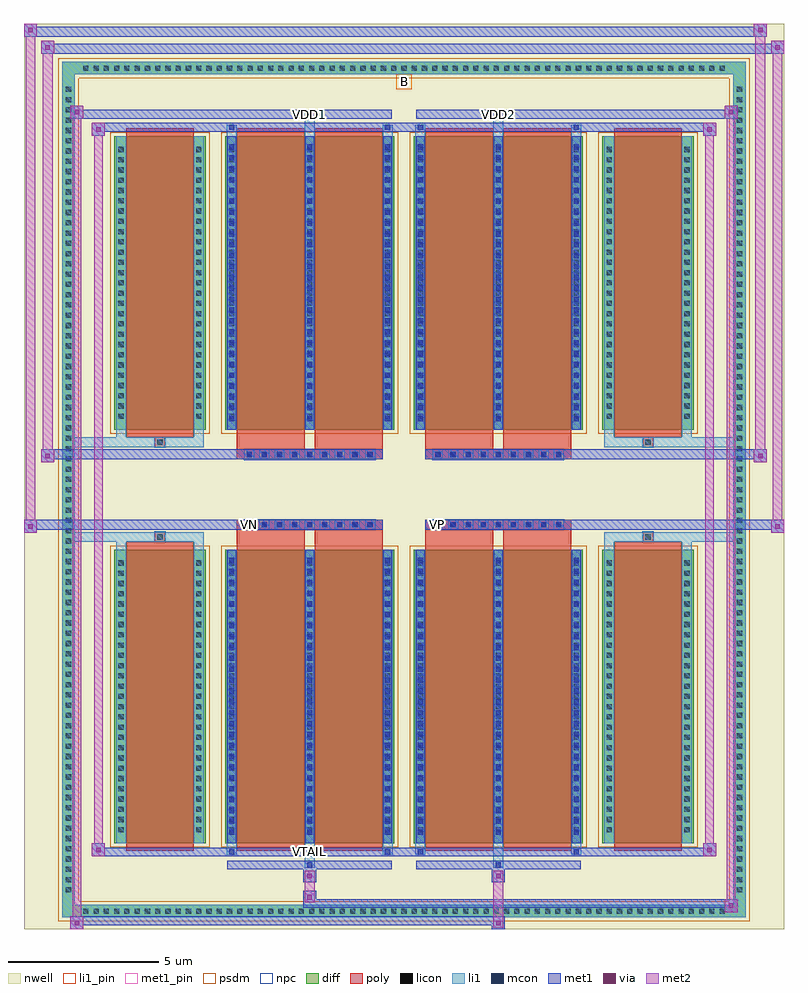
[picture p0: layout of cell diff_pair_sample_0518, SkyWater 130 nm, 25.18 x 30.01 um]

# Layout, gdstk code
import gdstk
lib = gdstk.Library(unit=1e-6, precision=5e-09)
def R(c, l, rs):  # rectangles x0, y0, x1, y1
    for r in rs: c.add(gdstk.rectangle(r[:2], r[2:], *l))
def A(c, l, x, y, w, h, nx, ny, dx, dy):  # array of equal rectangles
    R(c, l, [(x+i*dx, y+j*dy, x+i*dx+w, y+j*dy+h) for i in range(nx) for j in range(ny)])
def P(c, l, *ps):  # polygons
    for p in ps: c.add(gdstk.Polygon(p, *l))
nwell = (64, 20)
diff = (65, 20)
poly = (66, 20)
licon = (66, 44)
li1_pin = (67, 16)
li1 = (67, 20)
mcon = (67, 44)
met1_pin = (68, 16)
met1 = (68, 20)
via = (68, 44)
met2 = (69, 20)
psdm = (94, 20)
npc = (95, 20)

diff_pair_sample_0518 = lib.new_cell('diff_pair_sample_0518')
R(diff_pair_sample_0518, nwell, [(-12.59,-14.57,12.59,15.44), (-9.91,-12.76,-0.01,-0.8), (0.01,-12.76,9.91,-0.8), (-9.91,0.8,-0.01,12.76), (0.01,0.8,9.91,12.76)])
A(diff_pair_sample_0518, diff, -10.745, -14.17, 0.41, 0.41, 63, 2, 0.34, 27.93)
A(diff_pair_sample_0518, diff, -11.32, -13.465, 0.41, 0.41, 1, 79, 0, 0.34)
A(diff_pair_sample_0518, diff, 10.91, -13.465, 0.41, 0.41, 1, 79, 0, 0.34)
R(diff_pair_sample_0518, diff, [(-10.745,-14.17,10.745,-13.76), (-11.32,-13.465,-10.91,13.465), (10.91,-13.465,11.32,13.465), (-9.6,-11.715,-6.57,-1.985), (-5.93,-11.715,-0.32,-1.985), (0.32,-11.715,5.93,-1.985), (6.57,-11.715,9.6,-1.985), (-9.6,1.985,-6.57,11.715), (-5.93,1.985,-0.32,11.715), (0.32,1.985,5.93,11.715), (6.57,1.985,9.6,11.715), (-10.745,13.76,10.745,14.17)])
P(diff_pair_sample_0518, diff, [(11.32,14.17),(-11.32,14.17),(-11.32,-13.76),(-10.91,-13.76),(-10.91,13.76),(10.91,13.76),(10.91,-13.76),(-10.91,-13.76),(-11.32,-13.76),(-11.32,-14.17),(11.32,-14.17)])
A(diff_pair_sample_0518, poly, -5.29, -1.33, 0.33, 0.33, 9, 2, 0.5, 2.33)
A(diff_pair_sample_0518, poly, 0.96, -1.33, 0.33, 0.33, 9, 2, 0.5, 2.33)
R(diff_pair_sample_0518, poly, [(-9.21,-11.965,-6.96,-1.735), (-5.54,-11.965,-3.29,-1.735), (-2.96,-11.965,-0.71,-1.735), (0.71,-11.965,2.96,-1.735), (3.29,-11.965,5.54,-1.735), (6.96,-11.965,9.21,-1.735), (-8.25,-1.735,-7.92,-1.405), (-8.25,-1.735,-7.92,-1.405), (-5.54,-1.735,-3.29,-1.33), (-2.96,-1.735,-0.71,-1.33), (0.71,-1.735,2.96,-1.33), (3.29,-1.735,5.54,-1.33), (7.92,-1.735,8.25,-1.405), (7.92,-1.735,8.25,-1.405), (-5.54,-1.33,-0.71,-1), (0.71,-1.33,5.54,-1), (-5.54,1,-0.71,1.33), (0.71,1,5.54,1.33), (-5.54,1.33,-3.29,1.735), (-2.96,1.33,-0.71,1.735), (0.71,1.33,2.96,1.735), (3.29,1.33,5.54,1.735), (-8.25,1.405,-7.92,1.735), (-8.25,1.405,-7.92,1.735), (7.92,1.405,8.25,1.735), (7.92,1.405,8.25,1.735), (-9.21,1.735,-6.96,11.965), (-5.54,1.735,-3.29,11.965), (-2.96,1.735,-0.71,11.965), (0.71,1.735,2.96,11.965), (3.29,1.735,5.54,11.965), (6.96,1.735,9.21,11.965)])
A(diff_pair_sample_0518, licon, -10.625, -14.05, 0.17, 0.17, 63, 2, 0.34, 27.93)
A(diff_pair_sample_0518, licon, -11.2, -13.345, 0.17, 0.17, 1, 79, 0, 0.34)
A(diff_pair_sample_0518, licon, 11.03, -13.345, 0.17, 0.17, 1, 79, 0, 0.34)
A(diff_pair_sample_0518, licon, -9.46, -11.355, 0.17, 0.17, 1, 27, 0, 0.34)
A(diff_pair_sample_0518, licon, -6.88, -11.355, 0.17, 0.17, 1, 27, 0, 0.34)
A(diff_pair_sample_0518, licon, -5.79, -11.355, 0.17, 0.17, 3, 27, 2.58, 0.34)
A(diff_pair_sample_0518, licon, 0.46, -11.355, 0.17, 0.17, 3, 27, 2.58, 0.34)
A(diff_pair_sample_0518, licon, 6.71, -11.355, 0.17, 0.17, 1, 27, 0, 0.34)
A(diff_pair_sample_0518, licon, 9.29, -11.355, 0.17, 0.17, 1, 27, 0, 0.34)
A(diff_pair_sample_0518, licon, -5.21, -1.25, 0.17, 0.17, 9, 2, 0.5, 2.33)
A(diff_pair_sample_0518, licon, 1.04, -1.25, 0.17, 0.17, 9, 2, 0.5, 2.33)
A(diff_pair_sample_0518, licon, -9.46, 2.345, 0.17, 0.17, 1, 27, 0, 0.34)
A(diff_pair_sample_0518, licon, -6.88, 2.345, 0.17, 0.17, 1, 27, 0, 0.34)
A(diff_pair_sample_0518, licon, -5.79, 2.345, 0.17, 0.17, 3, 27, 2.58, 0.34)
A(diff_pair_sample_0518, licon, 0.46, 2.345, 0.17, 0.17, 3, 27, 2.58, 0.34)
A(diff_pair_sample_0518, licon, 6.71, 2.345, 0.17, 0.17, 1, 27, 0, 0.34)
A(diff_pair_sample_0518, licon, 9.29, 2.345, 0.17, 0.17, 1, 27, 0, 0.34)
R(diff_pair_sample_0518, licon, [(-8.17,-1.655,-8,-1.485), (8,-1.655,8.17,-1.485), (-8.17,1.485,-8,1.655), (8,1.485,8.17,1.655)])
R(diff_pair_sample_0518, li1_pin, [(-0.25,13.26,0.25,13.76)])
A(diff_pair_sample_0518, li1, -10.705, -14.13, 0.33, 0.33, 63, 2, 0.34, 27.93)
A(diff_pair_sample_0518, li1, -11.28, -13.425, 0.33, 0.33, 1, 79, 0, 0.34)
A(diff_pair_sample_0518, li1, 10.95, -13.425, 0.33, 0.33, 1, 79, 0, 0.34)
A(diff_pair_sample_0518, li1, -5.87, -11.715, 0.33, 9.73, 3, 2, 2.58, 13.7)
A(diff_pair_sample_0518, li1, 0.38, -11.715, 0.33, 9.73, 3, 2, 2.58, 13.7)
A(diff_pair_sample_0518, li1, -9.54, -11.435, 0.33, 0.33, 1, 27, 0, 0.34)
A(diff_pair_sample_0518, li1, -6.96, -11.435, 0.33, 0.33, 1, 27, 0, 0.34)
A(diff_pair_sample_0518, li1, -5.87, -11.435, 0.33, 0.33, 3, 27, 2.58, 0.34)
A(diff_pair_sample_0518, li1, -5.79, -11.435, 0.17, 0.17, 3, 26, 2.58, 0.36)
A(diff_pair_sample_0518, li1, -5.79, -11.435, 0.17, 9.17, 3, 2, 2.58, 13.7)
A(diff_pair_sample_0518, li1, 0.38, -11.435, 0.33, 0.33, 3, 27, 2.58, 0.34)
A(diff_pair_sample_0518, li1, 0.46, -11.435, 0.17, 0.17, 3, 26, 2.58, 0.36)
A(diff_pair_sample_0518, li1, 0.46, -11.435, 0.17, 9.17, 3, 2, 2.58, 13.7)
A(diff_pair_sample_0518, li1, 6.63, -11.435, 0.33, 0.33, 1, 27, 0, 0.34)
A(diff_pair_sample_0518, li1, 9.21, -11.435, 0.33, 0.33, 1, 27, 0, 0.34)
A(diff_pair_sample_0518, li1, -5.29, -1.33, 0.33, 0.33, 9, 2, 0.5, 2.33)
A(diff_pair_sample_0518, li1, 0.96, -1.33, 0.33, 0.33, 9, 2, 0.5, 2.33)
A(diff_pair_sample_0518, li1, -9.54, 2.265, 0.33, 0.33, 1, 27, 0, 0.34)
A(diff_pair_sample_0518, li1, -6.96, 2.265, 0.33, 0.33, 1, 27, 0, 0.34)
A(diff_pair_sample_0518, li1, -5.87, 2.265, 0.33, 0.33, 3, 27, 2.58, 0.34)
A(diff_pair_sample_0518, li1, -5.79, 2.265, 0.17, 0.17, 3, 26, 2.58, 0.36)
A(diff_pair_sample_0518, li1, 0.38, 2.265, 0.33, 0.33, 3, 27, 2.58, 0.34)
A(diff_pair_sample_0518, li1, 0.46, 2.265, 0.17, 0.17, 3, 26, 2.58, 0.36)
A(diff_pair_sample_0518, li1, 6.63, 2.265, 0.33, 0.33, 1, 27, 0, 0.34)
A(diff_pair_sample_0518, li1, 9.21, 2.265, 0.33, 0.33, 1, 27, 0, 0.34)
R(diff_pair_sample_0518, li1, [(-11.32,-14.17,-10.91,-13.76), (-11.32,-14.17,-10.91,-13.76), (-10.91,-14.17,10.91,-13.76), (10.91,-14.17,11.32,-13.76), (10.91,-14.17,11.32,-13.76), (-11.32,-13.76,-10.91,13.76), (10.91,-13.76,11.32,13.76), (-3.29,-12.52,-2.96,-11.715), (-3.21,-12.52,-3.04,-12.35), (2.96,-12.52,3.29,-11.715), (3.04,-12.52,3.21,-12.35), (-5.87,-12.09,-5.54,-11.715), (-5.79,-12.09,-5.62,-11.92), (-0.71,-12.09,-0.38,-11.715), (-0.63,-12.09,-0.46,-11.92), (0.38,-12.09,0.71,-11.715), (0.46,-12.09,0.63,-11.92), (5.54,-12.09,5.87,-11.715), (5.62,-12.09,5.79,-11.92), (-9.54,-11.715,-9.21,-1.985), (-6.96,-11.715,-6.63,-1.985), (6.63,-11.715,6.96,-1.985), (9.21,-11.715,9.54,-1.985), (-9.54,-1.985,-9.21,-1.405), (-6.96,-1.985,-6.63,-1.405), (6.63,-1.985,6.96,-1.405), (9.21,-1.985,9.54,-1.405), (-11.32,-1.735,-8.25,-1.405), (-9.54,-1.735,-8.25,-1.405), (-8.25,-1.735,-7.92,-1.405), (-7.92,-1.735,-6.63,-1.405), (6.63,-1.735,7.92,-1.405), (7.92,-1.735,8.25,-1.405), (7.92,-1.735,11.32,-1.405), (8.25,-1.735,9.54,-1.405), (-11.32,1.405,-8.25,1.735), (-9.54,1.405,-8.25,1.735), (-9.54,1.405,-9.21,1.985), (-8.25,1.405,-7.92,1.735), (-7.92,1.405,-6.63,1.735), (-6.96,1.405,-6.63,1.985), (6.63,1.405,7.92,1.735), (6.63,1.405,6.96,1.985), (7.92,1.405,8.25,1.735), (7.92,1.405,11.32,1.735), (8.25,1.405,9.54,1.735), (9.21,1.405,9.54,1.985), (-9.54,1.985,-9.21,11.715), (-6.96,1.985,-6.63,11.715), (6.63,1.985,6.96,11.715), (9.21,1.985,9.54,11.715), (-5.87,11.715,-5.54,12.09), (-3.29,11.715,-2.96,12.52), (-0.71,11.715,-0.38,12.09), (0.38,11.715,0.71,12.09), (2.96,11.715,3.29,12.52), (5.54,11.715,5.87,12.09), (-5.79,11.92,-5.62,12.09), (-0.63,11.92,-0.46,12.09), (0.46,11.92,0.63,12.09), (5.62,11.92,5.79,12.09), (-3.21,12.35,-3.04,12.52), (3.04,12.35,3.21,12.52), (-11.32,13.76,-10.91,14.17), (-11.32,13.76,-10.91,14.17), (-10.91,13.76,10.91,14.17), (10.91,13.76,11.32,14.17), (10.91,13.76,11.32,14.17)])
A(diff_pair_sample_0518, mcon, -5.79, -11.435, 0.17, 0.17, 3, 26, 2.58, 0.36)
A(diff_pair_sample_0518, mcon, 0.46, -11.435, 0.17, 0.17, 3, 26, 2.58, 0.36)
A(diff_pair_sample_0518, mcon, -5.21, -1.25, 0.17, 0.17, 9, 2, 0.5, 2.33)
A(diff_pair_sample_0518, mcon, 1.04, -1.25, 0.17, 0.17, 9, 2, 0.5, 2.33)
A(diff_pair_sample_0518, mcon, -5.79, 2.265, 0.17, 0.17, 3, 26, 2.58, 0.36)
A(diff_pair_sample_0518, mcon, 0.46, 2.265, 0.17, 0.17, 3, 26, 2.58, 0.36)
R(diff_pair_sample_0518, mcon, [(-3.21,-12.52,-3.04,-12.35), (3.04,-12.52,3.21,-12.35), (-5.79,-12.09,-5.62,-11.92), (-0.63,-12.09,-0.46,-11.92), (0.46,-12.09,0.63,-11.92), (5.62,-12.09,5.79,-11.92), (-5.79,11.92,-5.62,12.09), (-0.63,11.92,-0.46,12.09), (0.46,11.92,0.63,12.09), (5.62,11.92,5.79,12.09), (-3.21,12.35,-3.04,12.52), (3.04,12.35,3.21,12.52)])
R(diff_pair_sample_0518, met1_pin, [(-3.26,-12.13,-2.99,-11.86), (-5.26,-1.29,-4.99,-1.02), (0.99,-1.29,1.26,-1.02), (-3.26,12.31,-2.99,12.58), (2.99,12.31,3.26,12.58)])
A(diff_pair_sample_0518, met1, -5.85, -11.715, 0.29, 9.73, 3, 2, 2.58, 13.7)
A(diff_pair_sample_0518, met1, 0.4, -11.715, 0.29, 9.73, 3, 2, 2.58, 13.7)
A(diff_pair_sample_0518, met1, -5.85, -11.495, 0.29, 0.29, 3, 26, 2.58, 0.36)
A(diff_pair_sample_0518, met1, 0.4, -11.495, 0.29, 0.29, 3, 26, 2.58, 0.36)
A(diff_pair_sample_0518, met1, -5.27, -1.31, 0.29, 0.29, 9, 2, 0.5, 2.33)
A(diff_pair_sample_0518, met1, 0.98, -1.31, 0.29, 0.29, 9, 2, 0.5, 2.33)
A(diff_pair_sample_0518, met1, -5.85, 2.205, 0.29, 0.29, 3, 26, 2.58, 0.36)
A(diff_pair_sample_0518, met1, 0.4, 2.205, 0.29, 0.29, 3, 26, 2.58, 0.36)
R(diff_pair_sample_0518, met1, [(-11.05,-14.57,-10.62,-14.14), (2.91,-14.57,3.34,-14.14), (-11.05,-14.43,3.34,-14.14), (10.62,-14,11.05,-13.57), (-3.34,-13.86,11.05,-13.57), (-3.34,-13.72,-2.91,-13.29), (-3.34,-13.01,-2.91,-12.58), (2.91,-13.01,3.34,-12.58), (-5.85,-12.58,-0.4,-12.29), (-3.27,-12.58,-2.98,-12.29), (0.4,-12.58,5.85,-12.29), (2.98,-12.58,3.27,-12.29), (-10.34,-12.15,-9.91,-11.72), (-10.34,-12.15,-5.85,-11.86), (-5.85,-12.15,-5.56,-11.86), (-5.85,-12.15,-0.4,-11.86), (-0.69,-12.15,-0.4,-11.86), (-0.4,-12.15,0.4,-11.86), (0.4,-12.15,0.69,-11.86), (0.4,-12.15,5.85,-11.86), (5.56,-12.15,5.85,-11.86), (5.85,-12.15,10.34,-11.86), (9.91,-12.15,10.34,-11.72), (-12.59,-1.43,-12.16,-1), (12.16,-1.43,12.59,-1), (-12.59,-1.33,-0.71,-1), (-5.54,-1.33,-0.71,-1), (0.71,-1.33,5.54,-1), (0.71,-1.33,12.59,-1), (-12.02,0.9,-11.59,1.33), (11.59,0.9,12.02,1.33), (-12.02,1,-5.54,1.33), (-5.54,1,-0.71,1.33), (0.71,1,5.54,1.33), (5.54,1,12.02,1.33), (-10.34,11.72,-9.91,12.15), (9.91,11.72,10.34,12.15), (-10.34,11.86,-5.85,12.15), (-5.85,11.86,-5.56,12.15), (-5.85,11.86,-0.4,12.15), (-0.69,11.86,-0.4,12.15), (-0.4,11.86,0.4,12.15), (0.4,11.86,0.69,12.15), (0.4,11.86,5.85,12.15), (5.56,11.86,5.85,12.15), (5.85,11.86,10.34,12.15), (-11.05,12.29,-10.62,12.72), (-11.05,12.29,-5.85,12.58), (-5.85,12.29,-0.4,12.58), (-3.27,12.29,-2.98,12.58), (0.4,12.29,5.85,12.58), (2.98,12.29,3.27,12.58), (5.85,12.29,11.05,12.58), (10.62,12.29,11.05,12.72), (-12.02,14.44,-11.59,14.87), (-12.02,14.44,-9.91,14.77), (-9.91,14.44,9.91,14.77), (9.91,14.44,12.59,14.77), (12.16,14.44,12.59,14.87), (-12.59,15.01,-12.16,15.44), (-12.59,15.01,-9.91,15.34), (-9.91,15.01,9.91,15.34), (9.91,15.01,12.02,15.34), (11.59,15.01,12.02,15.44)])
R(diff_pair_sample_0518, via, [(-10.91,-14.43,-10.76,-14.28), (3.05,-14.43,3.2,-14.28), (10.76,-13.86,10.91,-13.71), (-3.2,-13.58,-3.05,-13.43), (-3.2,-12.87,-3.05,-12.72), (3.05,-12.87,3.2,-12.72), (-10.2,-12.01,-10.05,-11.86), (10.05,-12.01,10.2,-11.86), (-12.45,-1.29,-12.3,-1.14), (12.3,-1.29,12.45,-1.14), (-11.88,1.04,-11.73,1.19), (11.73,1.04,11.88,1.19), (-10.2,11.86,-10.05,12.01), (10.05,11.86,10.2,12.01), (-10.91,12.43,-10.76,12.58), (10.76,12.43,10.91,12.58), (-11.88,14.58,-11.73,14.73), (12.3,14.58,12.45,14.73), (-12.45,15.15,-12.3,15.3), (11.73,15.15,11.88,15.3)])
R(diff_pair_sample_0518, met2, [(-11.05,-14.57,-10.62,-14.14), (-10.98,-14.57,-10.69,12.72), (-10.69,-14.57,-10.62,-14.14), (-11,-14.52,-10.67,-14.19), (2.96,-14.52,3.29,-14.19), (2.96,-14.19,3.29,-12.96), (10.62,-14,11.05,-13.57), (10.69,-14,10.98,12.72), (10.98,-14,11.05,-13.57), (10.67,-13.95,11,-13.62), (-3.29,-13.67,-2.96,-13.34), (-3.29,-13.34,-2.96,-12.96), (-3.29,-12.96,-2.96,-12.63), (2.96,-12.96,3.29,-12.63), (-10.34,-12.15,-9.91,-11.72), (-10.27,-12.15,-9.98,12.15), (-9.98,-12.15,-9.91,-11.72), (9.91,-12.15,10.34,-11.72), (9.98,-12.15,10.27,12.15), (10.27,-12.15,10.34,-11.72), (-10.29,-12.1,-9.96,-11.77), (9.96,-12.1,10.29,-11.77), (-12.59,-1.43,-12.16,-1), (-12.54,-1.43,-12.21,15.44), (-12.21,-1.43,-12.16,-1), (12.16,-1.43,12.59,-1), (12.21,-1.43,12.54,14.87), (12.54,-1.43,12.59,-1), (-12.54,-1.38,-12.21,-1.05), (12.21,-1.38,12.54,-1.05), (-12.02,0.9,-11.59,1.33), (-11.97,0.9,-11.64,14.87), (-11.64,0.9,-11.59,1.33), (11.59,0.9,12.02,1.33), (11.64,0.9,11.97,15.44), (11.97,0.9,12.02,1.33), (-11.97,0.95,-11.64,1.28), (11.64,0.95,11.97,1.28), (-10.34,11.72,-9.91,12.15), (-9.98,11.72,-9.91,12.15), (9.91,11.72,10.34,12.15), (10.27,11.72,10.34,12.15), (-10.29,11.77,-9.96,12.1), (9.96,11.77,10.29,12.1), (-11.05,12.29,-10.62,12.72), (-10.69,12.29,-10.62,12.72), (10.62,12.29,11.05,12.72), (10.98,12.29,11.05,12.72), (-11,12.34,-10.67,12.67), (10.67,12.34,11,12.67), (-12.02,14.44,-11.59,14.87), (-11.64,14.44,-11.59,14.87), (12.16,14.44,12.59,14.87), (12.54,14.44,12.59,14.87), (-11.97,14.49,-11.64,14.82), (12.21,14.49,12.54,14.82), (-12.59,15.01,-12.16,15.44), (-12.21,15.01,-12.16,15.44), (11.59,15.01,12.02,15.44), (11.97,15.01,12.02,15.44), (-12.54,15.06,-12.21,15.39), (11.64,15.06,11.97,15.39)])
R(diff_pair_sample_0518, psdm, [(-9.73,-11.845,-6.44,-1.855), (-6.06,-11.845,-0.19,-1.855), (0.19,-11.845,6.06,-1.855), (6.44,-11.845,9.73,-1.855), (-9.73,1.855,-6.44,11.845), (-6.06,1.855,-0.19,11.845), (0.19,1.855,6.06,11.845), (6.44,1.855,9.73,11.845)])
P(diff_pair_sample_0518, psdm, [(11.45,14.3),(-11.45,14.3),(-11.45,-13.63),(-10.78,-13.63),(-10.78,13.63),(10.78,13.63),(10.78,-13.63),(-10.78,-13.63),(-11.45,-13.63),(-11.45,-14.3),(11.45,-14.3)])
A(diff_pair_sample_0518, npc, -5.31, -1.35, 0.37, 0.37, 9, 2, 0.5, 2.33)
A(diff_pair_sample_0518, npc, 0.94, -1.35, 0.37, 0.37, 9, 2, 0.5, 2.33)
R(diff_pair_sample_0518, npc, [(-8.27,-1.755,-7.9,-1.385), (7.9,-1.755,8.27,-1.385), (-5.31,-1.35,-4.44,-0.98), (-5.31,-1.35,-4.44,-0.98), (-4.81,-1.35,-3.94,-0.98), (-4.81,-1.35,-3.94,-0.98), (-4.31,-1.35,-3.44,-0.98), (-4.31,-1.35,-3.44,-0.98), (-3.81,-1.35,-2.94,-0.98), (-3.81,-1.35,-2.94,-0.98), (-3.31,-1.35,-2.44,-0.98), (-3.31,-1.35,-2.44,-0.98), (-2.81,-1.35,-1.94,-0.98), (-2.81,-1.35,-1.94,-0.98), (-2.31,-1.35,-1.44,-0.98), (-2.31,-1.35,-1.44,-0.98), (-1.81,-1.35,-0.94,-0.98), (-1.81,-1.35,-0.94,-0.98), (0.94,-1.35,1.81,-0.98), (0.94,-1.35,1.81,-0.98), (1.44,-1.35,2.31,-0.98), (1.44,-1.35,2.31,-0.98), (1.94,-1.35,2.81,-0.98), (1.94,-1.35,2.81,-0.98), (2.44,-1.35,3.31,-0.98), (2.44,-1.35,3.31,-0.98), (2.94,-1.35,3.81,-0.98), (2.94,-1.35,3.81,-0.98), (3.44,-1.35,4.31,-0.98), (3.44,-1.35,4.31,-0.98), (3.94,-1.35,4.81,-0.98), (3.94,-1.35,4.81,-0.98), (4.44,-1.35,5.31,-0.98), (4.44,-1.35,5.31,-0.98), (-5.31,0.98,-4.44,1.35), (-5.31,0.98,-4.44,1.35), (-4.81,0.98,-3.94,1.35), (-4.81,0.98,-3.94,1.35), (-4.31,0.98,-3.44,1.35), (-4.31,0.98,-3.44,1.35), (-3.81,0.98,-2.94,1.35), (-3.81,0.98,-2.94,1.35), (-3.31,0.98,-2.44,1.35), (-3.31,0.98,-2.44,1.35), (-2.81,0.98,-1.94,1.35), (-2.81,0.98,-1.94,1.35), (-2.31,0.98,-1.44,1.35), (-2.31,0.98,-1.44,1.35), (-1.81,0.98,-0.94,1.35), (-1.81,0.98,-0.94,1.35), (0.94,0.98,1.81,1.35), (0.94,0.98,1.81,1.35), (1.44,0.98,2.31,1.35), (1.44,0.98,2.31,1.35), (1.94,0.98,2.81,1.35), (1.94,0.98,2.81,1.35), (2.44,0.98,3.31,1.35), (2.44,0.98,3.31,1.35), (2.94,0.98,3.81,1.35), (2.94,0.98,3.81,1.35), (3.44,0.98,4.31,1.35), (3.44,0.98,4.31,1.35), (3.94,0.98,4.81,1.35), (3.94,0.98,4.81,1.35), (4.44,0.98,5.31,1.35), (4.44,0.98,5.31,1.35), (-8.27,1.385,-7.9,1.755), (7.9,1.385,8.27,1.755)])
diff_pair_sample_0518.add(gdstk.Label('VTAIL', (-3.125,-11.995), layer=68, texttype=5))
diff_pair_sample_0518.add(gdstk.Label('VN', (-5.125,-1.155), layer=68, texttype=5))
diff_pair_sample_0518.add(gdstk.Label('VP', (1.125,-1.155), layer=68, texttype=5))
diff_pair_sample_0518.add(gdstk.Label('B', (0,13.51), layer=67, texttype=5))
diff_pair_sample_0518.add(gdstk.Label('VDD2', (3.125,12.445), layer=68, texttype=5))
diff_pair_sample_0518.add(gdstk.Label('VDD1', (-3.125,12.445), layer=68, texttype=5))

lib.write_gds('diff_pair_sample_0518.gds')
